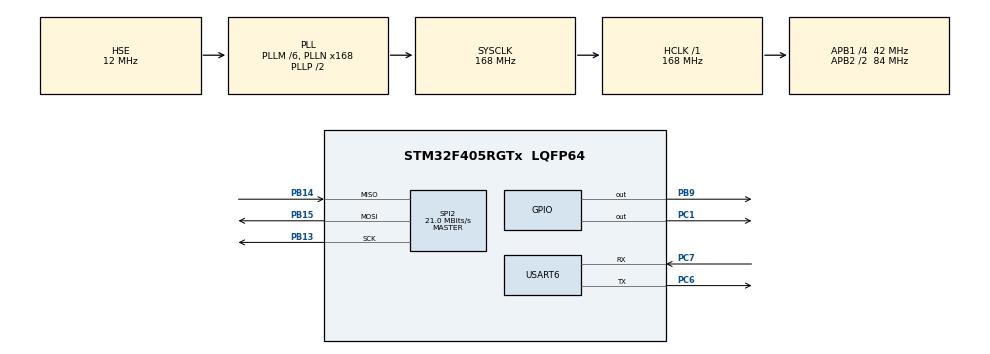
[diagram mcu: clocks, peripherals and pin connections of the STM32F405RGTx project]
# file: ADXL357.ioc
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Mcu.Family=STM32F4
Mcu.Name=STM32F405RGTx
Mcu.Package=LQFP64
NVIC.PriorityGroup=NVIC_PRIORITYGROUP_4
PA13.Mode=Trace_Asynchronous_SW
PA13.Signal=SYS_JTMS-SWDIO
PA14.Mode=Trace_Asynchronous_SW
PA14.Signal=SYS_JTCK-SWCLK
PB13.Mode=Full_Duplex_Master
PB13.Signal=SPI2_SCK
PB14.Mode=Full_Duplex_Master
PB14.Signal=SPI2_MISO
PB15.Mode=Full_Duplex_Master
PB15.Signal=SPI2_MOSI
PB3.Mode=Trace_Asynchronous_SW
PB3.Signal=SYS_JTDO-SWO
PB9.Signal=GPIO_Output
PC1.Signal=GPIO_Output
PC6.Mode=Asynchronous
PC6.Signal=USART6_TX
PC7.Mode=Asynchronous
PC7.Signal=USART6_RX
PH0-OSC_IN.Mode=HSE-External-Oscillator
PH0-OSC_IN.Signal=RCC_OSC_IN
PH1-OSC_OUT.Mode=HSE-External-Oscillator
PH1-OSC_OUT.Signal=RCC_OSC_OUT
ProjectManager.HeapSize=0x200
ProjectManager.StackSize=0x400
ProjectManager.TargetToolchain=STM32CubeIDE
RCC.48MHZClocksFreq_Value=84000000
RCC.AHBFreq_Value=168000000
RCC.APB1CLKDivider=RCC_HCLK_DIV4
RCC.APB1Freq_Value=42000000
RCC.APB1TimFreq_Value=84000000
RCC.APB2CLKDivider=RCC_HCLK_DIV2
RCC.APB2Freq_Value=84000000
RCC.APB2TimFreq_Value=168000000
RCC.CortexFreq_Value=168000000
RCC.HCLKFreq_Value=168000000
RCC.HSE_VALUE=12000000
RCC.HSI_VALUE=16000000
RCC.LSE_VALUE=32768
RCC.PLLM=6
RCC.PLLN=168
RCC.PLLSourceVirtual=RCC_PLLSOURCE_HSE
RCC.SYSCLKFreq_VALUE=168000000
RCC.SYSCLKSource=RCC_SYSCLKSOURCE_PLLCLK
RCC.VCOOutputFreq_Value=336000000
SPI2.BaudRatePrescaler=SPI_BAUDRATEPRESCALER_2
SPI2.CalculateBaudRate=21.0 MBits/s
SPI2.Direction=SPI_DIRECTION_2LINES
SPI2.Mode=SPI_MODE_MASTER
SPI2.VirtualType=VM_MASTER
USART6.VirtualMode=VM_ASYNC
board=custom

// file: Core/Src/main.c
/* USER CODE BEGIN Header */
/**
  ******************************************************************************
  * @file           : main.c
  * @brief          : Main program body
  ******************************************************************************
  * @attention
  *
  * Copyright (c) 2024 STMicroelectronics.
  * All rights reserved.
  *
  * This software is licensed under terms that can be found in the LICENSE file
  * in the root directory of this software component.
  * If no LICENSE file comes with this software, it is provided AS-IS.
  *
  ******************************************************************************
  */
/* USER CODE END Header */
#include "main.h"

/* USER CODE BEGIN Includes */
#include"stdio.h"
#include "string.h"
/* USER CODE END Includes */

/* USER CODE BEGIN PD */

#define ADXL357_CS_PIN GPIO_PIN_9
#define ADXL357_CS_PORT GPIOB
#define SENSITIVITY_10G 51200.0

// Memory register addresses
#define DEVID_AD  0x00
#define DEVID_MST 0x01
#define PARTID 0x02
#define XDATA3 0x08
#define XDATA2 0x09
#define XDATA1 0x0A
#define YDATA3 0x0B
#define YDATA2 0x0C
#define YDATA1 0x0D
#define ZDATA3 0x0E
#define ZDATA2 0x0F
#define ZDATA1 0x10
#define RANGE  0x2C
#define POWER_CTL 0x2D

// Device values
#define RANGE_10G 0x01
#define MEASURE_MODE 0x06  // Only accelerometer

// Operations
#define READ_BYTE 0x01
#define WRITE_BYTE 0x00

/* USER CODE END PD */

SPI_HandleTypeDef hspi2;

UART_HandleTypeDef huart6;

void SystemClock_Config(void);
static void MX_GPIO_Init(void);
static void MX_SPI2_Init(void);
static void MX_USART6_UART_Init(void);
void writeRegister(uint8_t reg, uint8_t value);
uint8_t readRegister(uint8_t reg);
void readMultipleData(uint8_t* addresses, uint8_t dataSize, uint8_t* readData);
void initADXL357(void);
void readADXL357Data(void);

/* USER CODE BEGIN 0 */
int _write(int file, char *ptr, int len)
{
	HAL_UART_Transmit(&huart6, (uint8_t*)ptr, len, HAL_MAX_DELAY);
	return len;
}
/* USER CODE END 0 */

uint8_t count = 0;

/* USER CODE BEGIN 1 */
void writeRegister(uint8_t reg, uint8_t value) {
    uint8_t dataToSend = (reg << 1) | WRITE_BYTE;
    HAL_GPIO_WritePin(ADXL357_CS_PORT, ADXL357_CS_PIN, GPIO_PIN_RESET);
    HAL_SPI_Transmit(&hspi2, &dataToSend, 1, HAL_MAX_DELAY);
    HAL_SPI_Transmit(&hspi2, &value, 1, HAL_MAX_DELAY);
    HAL_GPIO_WritePin(ADXL357_CS_PORT, ADXL357_CS_PIN, GPIO_PIN_SET);
  }

  uint8_t readRegister(uint8_t reg) {
    uint8_t result = 0;
    uint8_t dataToSend = (reg << 1) | READ_BYTE;

    HAL_GPIO_WritePin(ADXL357_CS_PORT, ADXL357_CS_PIN, GPIO_PIN_RESET);
    HAL_SPI_Transmit(&hspi2, &dataToSend, 1, HAL_MAX_DELAY);
    HAL_SPI_Receive(&hspi2, &result, 1, HAL_MAX_DELAY);
    HAL_GPIO_WritePin(ADXL357_CS_PORT, ADXL357_CS_PIN, GPIO_PIN_SET);

    return result;
  }

  void readMultipleData(uint8_t* addresses, uint8_t dataSize, uint8_t* readData) {
    HAL_GPIO_WritePin(ADXL357_CS_PORT, ADXL357_CS_PIN, GPIO_PIN_RESET);
    for (int i = 0; i < dataSize; i++) {
      uint8_t dataToSend = (addresses[i] << 1) | READ_BYTE;
      HAL_SPI_Transmit(&hspi2, &dataToSend, 1, HAL_MAX_DELAY);
      HAL_SPI_Receive(&hspi2, &readData[i], 1, HAL_MAX_DELAY);
    }
    HAL_GPIO_WritePin(ADXL357_CS_PORT, ADXL357_CS_PIN, GPIO_PIN_SET);
  }

  void initADXL357(void) {
    HAL_GPIO_WritePin(ADXL357_CS_PORT, ADXL357_CS_PIN, GPIO_PIN_SET);
    HAL_Delay(1000);  // Wait for ADXL357 to settle

    uint8_t devid_ad = readRegister(DEVID_AD); // Device ID
    uint8_t devid_mst = readRegister(DEVID_MST); // MEMS ID
    uint8_t part_id = readRegister(PARTID);   // PART ID

    printf("Device ID AD: 0x%X ", devid_ad);
    printf("Device ID MST: 0x%X ", devid_mst);
    printf("Part ID: 0x%X ", part_id);

    if (devid_ad != 0xAD || devid_mst != 0x1D || part_id != 0xED) {
      printf("Error: Device ID mismatch\n");
      while (1);
    } else {
      printf("Device ID matched successfully.\n");
    }

    writeRegister(RANGE, RANGE_10G); // Set range to ±10g
    writeRegister(POWER_CTL, MEASURE_MODE); // Enable measure mode

    // Give the sensor time to set up
    HAL_Delay(100);
  }

  void readADXL357Data(void) {
    uint8_t addresses[] = {XDATA3, XDATA2, XDATA1, YDATA3, YDATA2, YDATA1, ZDATA3, ZDATA2, ZDATA1};
    uint8_t data[9];
    int32_t xData, yData, zData;

    readMultipleData(addresses, 9, data);

    // Combine data to form 20-bit values
    xData = ((data[0] << 16) | (data[1] << 8) | data[2]) >> 4;
    yData = ((data[3] << 16) | (data[4] << 8) | data[5]) >> 4;
    zData = ((data[6] << 16) | (data[7] << 8) | data[8]) >> 4;

    // Apply two's complement for 20-bit signed integers
    if (xData & (1 << 19)) xData |= 0xFFF00000;
    if (yData & (1 << 19)) yData |= 0xFFF00000;
    if (zData & (1 << 19)) zData |= 0xFFF00000;

    // Convert raw data to g-units
    float xAccel = xData / SENSITIVITY_10G;
    float yAccel = yData / SENSITIVITY_10G;
    float zAccel = zData / SENSITIVITY_10G;

    printf("X: %.2f g, Y: %.2f g, Z: %.2f g\n", xAccel, yAccel, zAccel);
  }

  /* USER CODE END 1 */

int main(void)
{

  /* MCU Configuration--------------------------------------------------------*/

  /* Reset of all peripherals, Initializes the Flash interface and the Systick. */
  HAL_Init();

  /* Configure the system clock */
  SystemClock_Config();

  /* Initialize all configured peripherals */
  MX_GPIO_Init();
  MX_SPI2_Init();
  MX_USART6_UART_Init();
  /* USER CODE BEGIN 2 */

  // Initialize ADXL357
  initADXL357();

  /* USER CODE END 2 */

  /* Infinite loop */
  while (1)
  {
	    readADXL357Data();
	    HAL_GPIO_TogglePin(GPIOC, GPIO_PIN_1);
	    printf("\r\n");
	    count++;
	    HAL_Delay(100);

  }

}

void SystemClock_Config(void)
{
  RCC_OscInitTypeDef RCC_OscInitStruct = {0};
  RCC_ClkInitTypeDef RCC_ClkInitStruct = {0};

  /** Configure the main internal regulator output voltage
  */
  __HAL_RCC_PWR_CLK_ENABLE();
  __HAL_PWR_VOLTAGESCALING_CONFIG(PWR_REGULATOR_VOLTAGE_SCALE1);

  /** Initializes the RCC Oscillators according to the specified parameters
  * in the RCC_OscInitTypeDef structure.
  */
  RCC_OscInitStruct.OscillatorType = RCC_OSCILLATORTYPE_HSE;
  RCC_OscInitStruct.HSEState = RCC_HSE_ON;
  RCC_OscInitStruct.PLL.PLLState = RCC_PLL_ON;
  RCC_OscInitStruct.PLL.PLLSource = RCC_PLLSOURCE_HSE;
  RCC_OscInitStruct.PLL.PLLM = 6;
  RCC_OscInitStruct.PLL.PLLN = 168;
  RCC_OscInitStruct.PLL.PLLP = RCC_PLLP_DIV2;
  RCC_OscInitStruct.PLL.PLLQ = 4;
  if (HAL_RCC_OscConfig(&RCC_OscInitStruct) != HAL_OK)
  {
    Error_Handler();
  }

  /** Initializes the CPU, AHB and APB buses clocks
  */
  RCC_ClkInitStruct.ClockType = RCC_CLOCKTYPE_HCLK|RCC_CLOCKTYPE_SYSCLK
                              |RCC_CLOCKTYPE_PCLK1|RCC_CLOCKTYPE_PCLK2;
  RCC_ClkInitStruct.SYSCLKSource = RCC_SYSCLKSOURCE_PLLCLK;
  RCC_ClkInitStruct.AHBCLKDivider = RCC_SYSCLK_DIV1;
  RCC_ClkInitStruct.APB1CLKDivider = RCC_HCLK_DIV4;
  RCC_ClkInitStruct.APB2CLKDivider = RCC_HCLK_DIV2;

  if (HAL_RCC_ClockConfig(&RCC_ClkInitStruct, FLASH_LATENCY_5) != HAL_OK)
  {
    Error_Handler();
  }
}

static void MX_SPI2_Init(void)
{

  /* SPI2 parameter configuration*/
  hspi2.Instance = SPI2;
  hspi2.Init.Mode = SPI_MODE_MASTER;
  hspi2.Init.Direction = SPI_DIRECTION_2LINES;
  hspi2.Init.DataSize = SPI_DATASIZE_8BIT;
  hspi2.Init.CLKPolarity = SPI_POLARITY_LOW;
  hspi2.Init.CLKPhase = SPI_PHASE_1EDGE;
  hspi2.Init.NSS = SPI_NSS_SOFT;
  hspi2.Init.BaudRatePrescaler = SPI_BAUDRATEPRESCALER_2;
  hspi2.Init.FirstBit = SPI_FIRSTBIT_MSB;
  hspi2.Init.TIMode = SPI_TIMODE_DISABLE;
  hspi2.Init.CRCCalculation = SPI_CRCCALCULATION_DISABLE;
  hspi2.Init.CRCPolynomial = 10;
  if (HAL_SPI_Init(&hspi2) != HAL_OK)
  {
    Error_Handler();
  }

}

static void MX_USART6_UART_Init(void)
{

  huart6.Instance = USART6;
  huart6.Init.BaudRate = 115200;
  huart6.Init.WordLength = UART_WORDLENGTH_8B;
  huart6.Init.StopBits = UART_STOPBITS_1;
  huart6.Init.Parity = UART_PARITY_NONE;
  huart6.Init.Mode = UART_MODE_TX_RX;
  huart6.Init.HwFlowCtl = UART_HWCONTROL_NONE;
  huart6.Init.OverSampling = UART_OVERSAMPLING_16;
  if (HAL_UART_Init(&huart6) != HAL_OK)
  {
    Error_Handler();
  }

}

static void MX_GPIO_Init(void)
{
  GPIO_InitTypeDef GPIO_InitStruct = {0};

  /* GPIO Ports Clock Enable */
  __HAL_RCC_GPIOH_CLK_ENABLE();
  __HAL_RCC_GPIOC_CLK_ENABLE();
  __HAL_RCC_GPIOB_CLK_ENABLE();
  __HAL_RCC_GPIOA_CLK_ENABLE();

  /*Configure GPIO pin Output Level */
  HAL_GPIO_WritePin(GPIOC, GPIO_PIN_1, GPIO_PIN_RESET);

  /*Configure GPIO pin Output Level */
  HAL_GPIO_WritePin(GPIOB, GPIO_PIN_9, GPIO_PIN_RESET);

  /*Configure GPIO pin : PC1 */
  GPIO_InitStruct.Pin = GPIO_PIN_1;
  GPIO_InitStruct.Mode = GPIO_MODE_OUTPUT_PP;
  GPIO_InitStruct.Pull = GPIO_NOPULL;
  GPIO_InitStruct.Speed = GPIO_SPEED_FREQ_LOW;
  HAL_GPIO_Init(GPIOC, &GPIO_InitStruct);

  /*Configure GPIO pin : PB9 */
  GPIO_InitStruct.Pin = GPIO_PIN_9;
  GPIO_InitStruct.Mode = GPIO_MODE_OUTPUT_PP;
  GPIO_InitStruct.Pull = GPIO_NOPULL;
  GPIO_InitStruct.Speed = GPIO_SPEED_FREQ_LOW;
  HAL_GPIO_Init(GPIOB, &GPIO_InitStruct);

}

void Error_Handler(void)
{
  __disable_irq();
  while (1)
  {
  }
}
